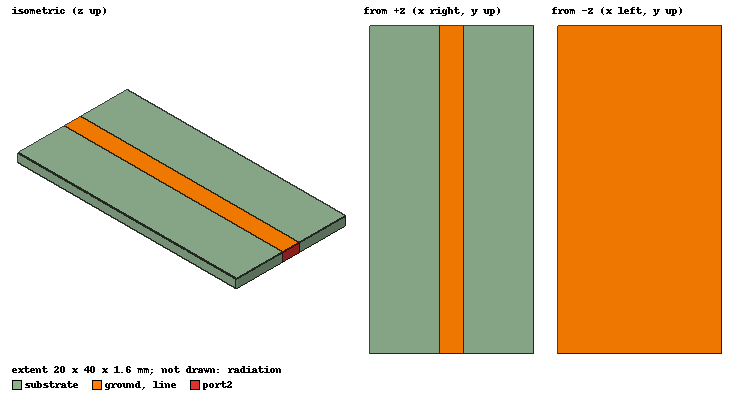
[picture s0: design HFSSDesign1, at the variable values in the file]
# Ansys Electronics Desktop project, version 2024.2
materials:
  vacuum: permittivity=1
  FR4_epoxy: permittivity=4.4 dielectric_loss_tangent=0.02
  air: permittivity=1.0006 permeability=1.0000004

design HFSSDesign1 (HFSS, HFSS Terminal Network, model units mm)
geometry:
  ground = rectangle(corner=(0mm, 0mm, 0mm), x_size=20mm, y_size=40mm)
  substrate [FR4_epoxy] = box(corner=(0mm, 0mm, 0mm), size=(20mm, 40mm, 1.6mm))
  line = rectangle(corner=((10-1.5) mm, 0mm, 1.6mm), x_size=3mm, y_size=40mm)
  plane Plane1 = base (8mm, 1mm, 0mm) normal (0mm, 7mm, 0mm)
  plane Plane2 = base (7mm, 0mm, 0mm) normal (0mm, -7mm, 0mm)
  port1 = rectangle(corner=(8.5mm, 0mm, 1.6mm), z_size=-1.6mm, x_size=3mm)
  port2 = rectangle(corner=(11.5mm, 40mm, 1.6mm), z_size=-1.6mm, x_size=-3mm)
  radiation [air] = box(corner=(-10mm, -10mm, -20mm), size=(40mm, 60mm, 40mm))
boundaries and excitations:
  PerfE1: Perfect E Objects=[line, substrate]
  Rad1: Radiation Objects=radiation
  1: Lumped Port Objects=port1 LumpedPortType=Modal Modes{Mode1{IntLine{(10, 0, 1.6) -> (10, 0, 0)} CharImp=Zpi}} Impedance=50ohm
  2: Lumped Port Objects=port2 LumpedPortType=Modal Modes{Mode1{IntLine{(10, 40, 1.6) -> (10, 40, 0)} CharImp=Zpi}} Impedance=50ohm
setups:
  Setup1: HfssDriven Frequency=5GHz MaxDeltaS=0.02 MaximumPasses=6 MinimumPasses=1 MinimumConvergedPasses=1 PercentRefinement=30 BasisOrder=1 PortAccuracy=2 DrivenSolverType="Direct Solver"
    sweep Sweep: 1GHz to 20GHz step 0.01GHz; Type=Interpolating SaveFields InterpTolerance=0.5 InterpMaxSolns=250 PassivityErrorTolerance=0.0001
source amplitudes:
  1:1: 1V 0deg
  2:1: 0V 0deg
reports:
  S Parameter Plot 1: dB(S(1,1)), dB(S(2,1)), dB(S(1,2)), dB(S(2,2)) vs Freq on Setup1 : Sweep
